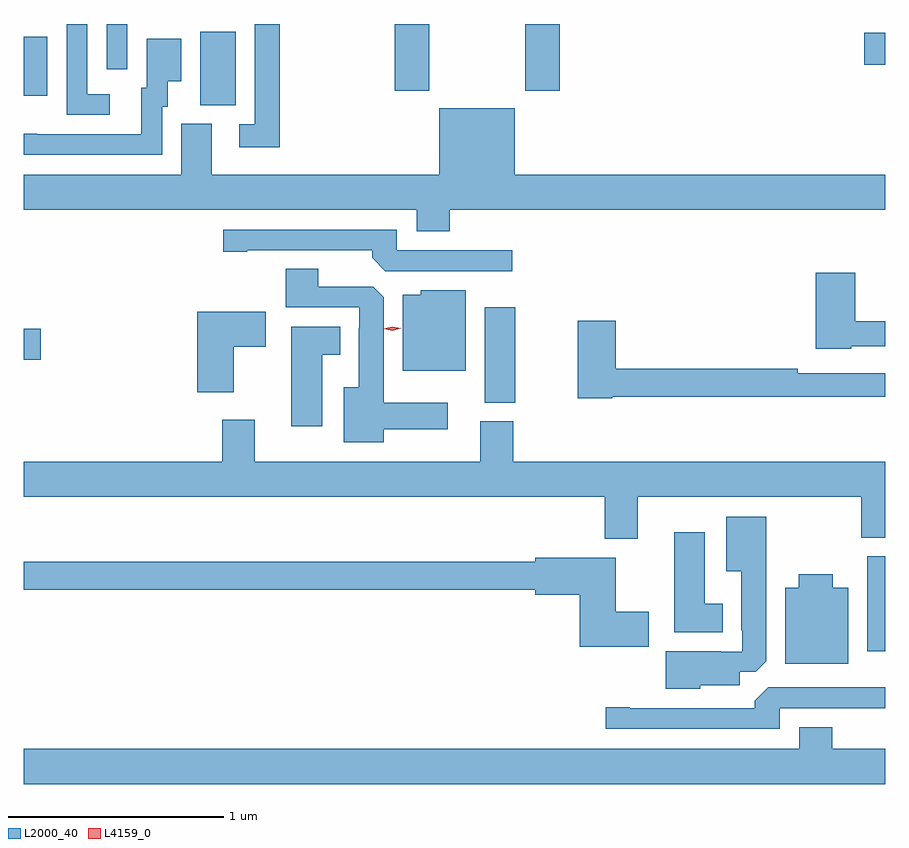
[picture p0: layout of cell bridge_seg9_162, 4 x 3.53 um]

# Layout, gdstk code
import gdstk
lib = gdstk.Library(unit=1e-6, precision=1e-09)
def R(c, l, rs):  # rectangles x0, y0, x1, y1
    for r in rs: c.add(gdstk.rectangle(r[:2], r[2:], *l))
def P(c, l, *ps):  # polygons
    for p in ps: c.add(gdstk.Polygon(p, *l))
L2000_40 = (2000, 40)
L4159_0 = (4159, 0)

bridge_seg9_162 = lib.new_cell('bridge_seg9_162')
R(bridge_seg9_162, L2000_40, [(289.226,1243.656,289.31,1244.098), (287.45,1244.809,287.592,1245.253), (285.31,1245.01,285.391,1245.152), (286.13,1246.189,286.294,1246.532), (285.31,1246.233,285.421,1246.507), (287.033,1246.257,287.193,1246.567), (287.638,1246.257,287.798,1246.567), (285.696,1246.356,285.792,1246.567), (289.212,1246.379,289.31,1246.526)])
P(bridge_seg9_162, L2000_40, [(285.709,1246.242),(285.606,1246.242),(285.606,1246.567),(285.51,1246.567),(285.51,1246.146),(285.709,1246.146)],
  [(286.499,1246.567),(286.383,1246.567),(286.383,1246.101),(286.311,1246.101),(286.311,1245.996),(286.499,1245.996)],
  [(285.954,1246.182),(285.979,1246.182),(285.979,1246.301),(286.042,1246.301),(286.042,1246.498),(285.881,1246.498),(285.881,1246.272),(285.857,1246.272),(285.857,1246.056),(285.373,1246.056),(285.373,1246.057),(285.31,1246.057),(285.31,1245.96),(285.954,1245.96)],
  [(287.288,1245.704),(289.31,1245.704),(289.31,1245.868),(287.59,1245.868),(287.59,1246.177),(287.24,1246.177),(287.24,1245.868),(286.183,1245.868),(286.183,1246.104),(286.043,1246.104),(286.043,1245.868),(285.31,1245.868),(285.31,1245.704),(287.135,1245.704),(287.135,1245.605),(287.288,1245.605)],
  [(287.578,1245.516),(287.043,1245.516),(287.043,1245.612),(286.236,1245.612),(286.236,1245.511),(286.348,1245.511),(286.348,1245.516),(286.928,1245.516),(286.928,1245.482),(286.989,1245.42),(287.578,1245.42)],
  [(286.981,1244.687),(287.278,1244.687),(287.278,1244.809),(286.981,1244.809),(286.981,1245.299),(286.932,1245.348),(286.678,1245.348),(286.678,1245.431),(286.526,1245.431),(286.526,1245.252),(286.869,1245.252),(286.869,1245.155),(286.865,1245.155),(286.865,1244.881),(286.796,1244.881),(286.796,1244.627),(286.981,1244.627)],
  [(289.152,1245.072),(289.31,1245.072),(289.31,1245.188),(289.169,1245.188),(289.169,1245.412),(288.986,1245.412),(288.986,1245.059),(289.152,1245.059)],
  [(287.362,1245.331),(287.154,1245.331),(287.154,1245.31),(287.069,1245.31),(287.069,1244.957),(287.362,1244.957)],
  [(286.285,1245.07),(286.435,1245.07),(286.435,1245.232),(286.115,1245.232),(286.115,1244.859),(286.285,1244.859)],
  [(288.042,1244.838),(289.31,1244.838),(289.31,1244.946),(288.902,1244.946),(288.902,1244.966),(288.059,1244.966),(288.059,1245.19),(287.881,1245.19),(287.881,1244.83),(288.042,1244.83)],
  [(286.696,1245.032),(286.78,1245.032),(286.78,1245.163),(286.553,1245.163),(286.553,1244.7),(286.696,1244.7)],
  [(288.16,1244.372),(289.198,1244.372),(289.198,1244.183),(289.31,1244.183),(289.31,1244.536),(287.582,1244.536),(287.582,1244.724),(287.429,1244.724),(287.429,1244.536),(286.384,1244.536),(286.384,1244.731),(286.232,1244.731),(286.232,1244.536),(285.31,1244.536),(285.31,1244.372),(288.008,1244.372),(288.008,1244.178),(288.16,1244.178)],
  [(288.45,1243.499),(288.634,1243.499),(288.634,1243.56),(288.708,1243.56),(288.757,1243.609),(288.757,1244.281),(288.572,1244.281),(288.572,1244.027),(288.641,1244.027),(288.641,1243.753),(288.645,1243.753),(288.645,1243.653),(288.545,1243.653),(288.545,1243.657),(288.29,1243.657),(288.29,1243.481),(288.45,1243.481)],
  [(288.556,1243.876),(288.472,1243.876),(288.472,1244.209),(288.329,1244.209),(288.329,1243.745),(288.556,1243.745)],
  [(288.211,1243.839),(288.058,1243.839),(288.058,1244.089),(287.684,1244.089),(287.684,1244.071),(285.31,1244.071),(285.31,1243.942),(287.684,1243.942),(287.684,1243.919),(287.891,1243.919),(287.891,1243.676),(288.211,1243.676)],
  [(289.138,1243.951),(289.066,1243.951),(289.066,1244.014),(288.908,1244.014),(288.908,1243.951),(288.845,1243.951),(288.845,1243.598),(289.138,1243.598)],
  [(288.819,1243.392),(289.31,1243.392),(289.31,1243.488),(288.765,1243.488),(288.704,1243.426),(288.704,1243.392),(288.124,1243.392),(288.124,1243.397),(288.012,1243.397),(288.012,1243.296),(288.819,1243.296)],
  [(289.31,1243.204),(289.064,1243.204),(289.064,1243.303),(288.911,1243.303),(288.911,1243.204),(285.31,1243.204),(285.31,1243.04),(289.31,1243.04)])
P(bridge_seg9_162, L4159_0, [(287.021,1245.143),(286.98,1245.152),(286.98,1245.152),(286.98,1245.152),(287.021,1245.163),(287.062,1245.154),(287.062,1245.154),(287.062,1245.154)])

lib.write_gds('bridge_seg9_162.gds')
